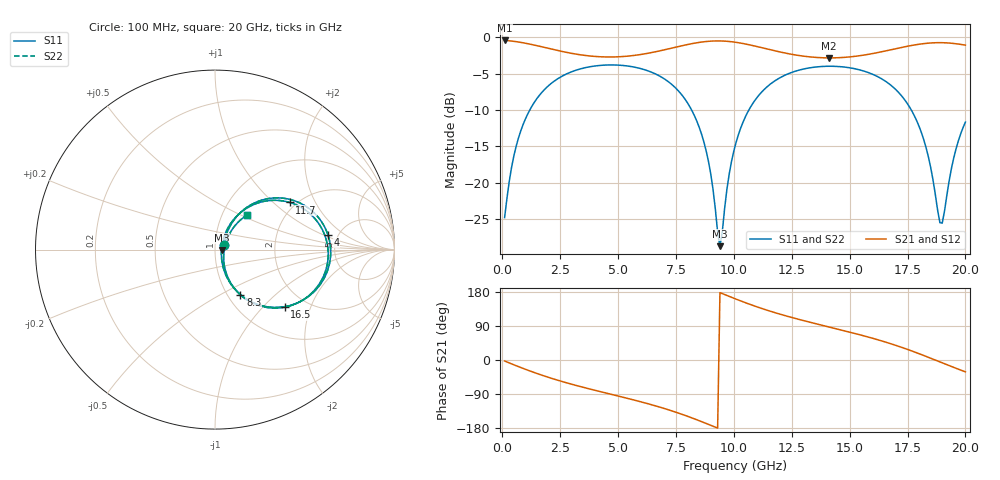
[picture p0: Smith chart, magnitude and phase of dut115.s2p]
! Touchstone file exported from HFSS 2026.1.0
!  File:  C:/ffzhzh/LocalFiles/Ansys_Project_Files/temp_train_TSV_RDL_115_1783046793_18316.aedt
!  Generated:  11:12:21 AM Jul  3, 2026
!  Design:  TSV_RDL
!  Project:  temp_train_TSV_RDL_115_1783046793_18316
! Variables:
!  h_bsmrdl = 3.37um
!  h_ox = 20um
!  h_rdl = 5um
!  h_sub = 89.37um
!  h_tmrdl = 2um
!  h_tsv = 89.37um
!  h_via = 3um
!  l_bsmrdl = 685.5um
!  l_sub = 6513.5um
!  l_tmrdl = 983.83um
!  m_sub = 200um
!  pitch = 58.28um
!  r_tsv = 2.7um
!  s_tmrdl = 10um
!  w_bsmrdl = 14.85um
!  w_sub = 500um
!  w_tmrdl = 25.71um
!  x_tsv_center1 = 996.685um
!  x_tsv_center2 = 1697.035um
!  x_tsv_center3 = 2706.575um
!  x_tsv_center4 = 3406.925um
!  x_tsv_center5 = 4416.465um
!  x_tsv_center6 = 5116.815um
# GHz S MA R 50.000000
! Terminal data exported
! Port[1] = TM_RDL1_1_T1
! Port[2] = TM_RDL5_1_T1
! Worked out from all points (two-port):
!   200 points, 100 MHz to 20 GHz, reference 50 ohm
!   highest |S21| = -0.44 dB at 100 MHz (marker M1); lowest = -2.8 dB at 14.1 GHz (marker M2)
!   |S21| within 3 dB of the highest: start of sweep to end of sweep
!   lowest |S11| = -28.8 dB at 9.4 GHz (marker M3), VSWR 1.08, Z = 53.8 - j0.257 ohm
!   |S11| at or under -10 dB: start of sweep to 1.19 GHz; 8.173 GHz to 10.65 GHz (2.48 GHz wide, 26.3 % of centre); 17.66 GHz to end of sweep
!   |S22| runs from -28.9 to -3.8 dB; largest |S21 - S12| = 1.7e-14
!   S11 on the Smith chart (normalised r, x): 100 MHz: 1.10, +0.06; 4 GHz: 4.13, +1.15; 8.3 GHz: 1.15, -0.63; 11.7 GHz: 1.85, +1.28; 16.5 GHz: 1.57, -1.35; 20 GHz: 1.31, +0.54
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0.1  0.05736 29.0  0.9507 -2.6  0.9507 -2.6  0.05736 29.0
! Gamma 0 0 0 0
! Port Impedance 50 0 50 0
0.5  0.1527 57.3  0.9374 -12.7  0.9374 -12.7  0.1527 57.3
1.2  0.3185 51.4  0.8965 -29.1  0.8965 -29.1  0.3185 51.4
2.2  0.4932 34.9  0.8241 -49.8  0.8241 -49.8  0.4932 34.9
3.5  0.6132 14.7  0.7524 -72.2  0.7524 -72.2  0.6132 14.7
4  0.6343 7.5  0.738 -79.9  0.738 -79.9  0.6343 7.5
5.4  0.6344 -12.3  0.741 -101.1  0.741 -101.1  0.6344 -12.3
6.8  0.5402 -33.9  0.8059 -124.3  0.8059 -124.3  0.5402 -33.9
8.3  0.288 -60.5  0.9107 -155.4  0.9107 -155.4  0.288 -60.6
8.9  0.1408 -66.7  0.9378 -169.8  0.9378 -169.8  0.1407 -67.0
9.4  0.03645 -3.8  0.9434 177.8  0.9434 177.8  0.03592 -3.8
9.8  0.1146 58.0  0.9354 167.8  0.9354 167.8  0.1144 58.2
10.1  0.1898 58.4  0.9227 160.5  0.9227 160.5  0.1897 58.6
10.8  0.3465 48.0  0.8781 144.5  0.8781 144.5  0.3465 48.0
11.7  0.4923 32.2  0.8117 126.3  0.8117 126.3  0.4923 32.2
13.4  0.6201 6.1  0.7297 97.9  0.7297 97.9  0.6201 6.1
14.1  0.6316 -3.8  0.721 87.3  0.721 87.3  0.6316 -3.8
16.5  0.504 -39.4  0.8018 48.2  0.8018 48.2  0.504 -39.5
16.7  0.4787 -42.8  0.8147 44.4  0.8147 44.4  0.4786 -42.8
18.1  0.2207 -64.3  0.9002 14.3  0.9002 14.3  0.2206 -64.5
18.9  0.05287 -21.2  0.918 -5.0  0.918 -5.0  0.05238 -21.3
20  0.2606 47.2  0.8827 -31.3  0.8827 -31.3  0.2605 47.3
